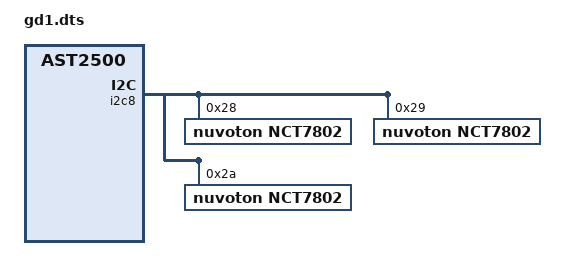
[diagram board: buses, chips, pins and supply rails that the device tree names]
/dts-v1/;
/plugin/;

#include <dt-bindings/gpio/gpio.h>
#include <dt-bindings/gpio/aspeed-gpio.h>

/ {
	compatible = "aspeed,ast2500";

	fragment@0 {
		target = <&i2c8>;
		__overlay__ {
			bus-frequency = <100000>;
			aspeed,dma-buf-size = <4095>;
			aspeed,hw-timeout-ms = <300>;
			status = "okay";
			nct7802@28 {
				compatible = "nuvoton,nct7802";
				reg = <0x28>;
				#address-cells = <1>;
				#size-cells = <0>;

				sensor@0 {
					compatible = "nuvoton,nct7802-sensor";
					reg = <0>;
					sensor-type = "thermistor";
				};

				sensor@1 {
					compatible = "nuvoton,nct7802-sensor";
					reg = <1>;
					sensor-type = "thermistor";
				};
			};
			nct7802@29 {
				compatible = "nuvoton,nct7802";
				reg = <0x29>;
				#address-cells = <1>;
				#size-cells = <0>;

				sensor@0 {
					compatible = "nuvoton,nct7802-sensor";
					reg = <0>;
					sensor-type = "thermistor";
				};

				sensor@1 {
					compatible = "nuvoton,nct7802-sensor";
					reg = <1>;
					sensor-type = "thermistor";
				};
			};
			nct7802@2a {
				compatible = "nuvoton,nct7802";
				reg = <0x2a>;
				#address-cells = <1>;
				#size-cells = <0>;

				sensor@0 {
					compatible = "nuvoton,nct7802-sensor";
					reg = <0>;
					sensor-type = "thermistor";
				};
			};
		};
	};
};
